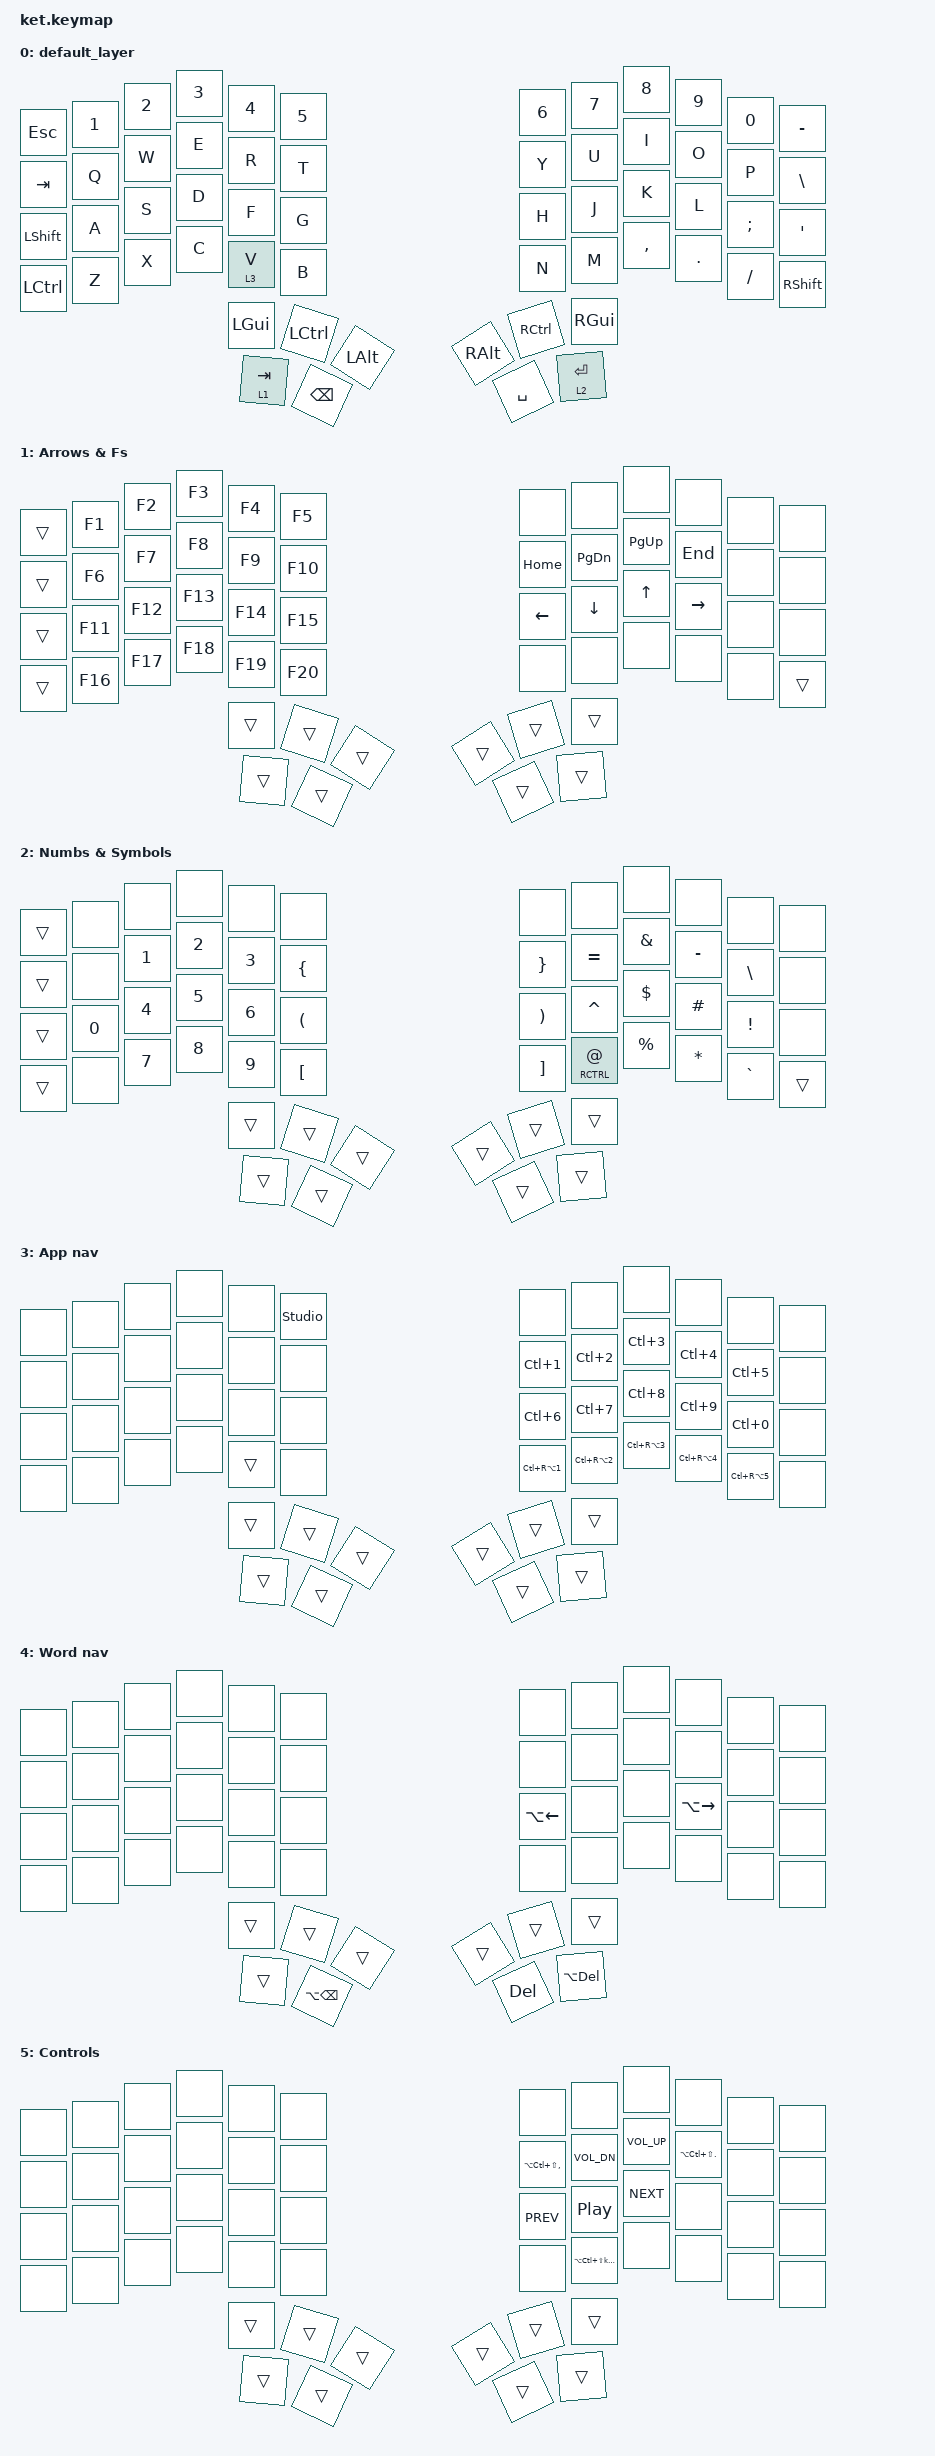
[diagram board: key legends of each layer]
/*
 * Copyright (c) 2020 The ZMK Contributors
 *
 * SPDX-License-Identifier: MIT
 */

#include <behaviors.dtsi>
#include <dt-bindings/zmk/keys.h>
#include <dt-bindings/zmk/bt.h>

&lt {
    tapping-term-ms = <175>;
};

/ {
    keymap {
        compatible = "zmk,keymap";

        default_layer {
// -----------------------------------------------------------------------------------------
// |  ESC |  1  |  2  |  3  |  4  |  5  |   |  6  |  7   |  8  |  9  |  0  |  -   |
// |  TAB |  Q  |  W  |  E  |  R  |  T  |   |  Y  |  U   |  I  |  O  |  P  |  \   |
// | SHFT |  A  |  S  |  D  |  F  |  G  |   |  H  |  J   |  K  |  L  |  ;  |  '   |
// | CTRL |  Z  |  X  |  C  | MO3 |  B  |   |  N  |  M   |  ,  |  .  |  /  | SHFT |
//                    | GUI | MO1 | SPC |   | ENT | MO2  | ALT |
//                          | LWR | BSPC |   | BSPC | RSE  |      
            bindings = <
   &kp ESC   &kp N1 &kp N2 &kp N3 &kp N4 &kp N5                              &kp N6 &kp N7 &kp N8 &kp N9 &kp N0  &kp MINUS 
   &kp TAB   &kp Q &kp W &kp E &kp R   &kp T                                 &kp Y &kp U  &kp I     &kp O   &kp P    &kp BSLH
   &kp LSHFT &kp A &kp S &kp D &kp F   &kp G                                 &kp H &kp J  &kp K     &kp L   &kp SEMI &kp SQT
   &kp LCTRL &kp Z &kp X &kp C &lt 3 V &kp B                                 &kp N &kp M  &kp COMMA &kp DOT &kp FSLH &kp RSHFT
                             &kp LGUI &kp LCTRL &kp LALT        &kp RALT &kp RCTRL  &kp RGUI
                                  &lt 1 TAB &kp BSPC             &kp SPACE &lt 2 RET
                        >;
       };

       lower {
            display-name = "Arrows & Fs";
// -----------------------------------------------------------------------------------------
// |      | F1  | F2  | F3  | F4  | F5  |   |     |      |     |     |     |      |
// |      | F6  | F7  | F8  | F9  | F10 |   |HOME |PG_DN |PG_UP| END |     |      |
// |      | F11 | F12 | F13 | F14 | F15 |   |  <  |  V   |  ^  |  >  |     |      |
// |      | F16 | F17 | F18 | F19 | F20 |   |     |      |     |     |     |      |
//                    | GUI | MO1 | SPC |   | ENT | MO2  | ALT |
//                          | LWR | SPC |   | BSPC | RSE  |      
            bindings = <
   &trans &kp F1   &kp F2  &kp F3    &kp F4    &kp F5                                   &none    &none     &none     &none     &none  &none
   &trans &kp F6   &kp F7  &kp F8    &kp F9    &kp F10                                  &kp HOME &kp PG_DN &kp PG_UP &kp END   &none  &none
   &trans &kp F11  &kp F12  &kp F13  &kp F14   &kp F15                                  &kp LEFT &kp DOWN  &kp UP    &kp RIGHT &none  &none
   &trans &kp F16  &kp F17  &kp F18  &kp F19   &kp F20                                  &none    &none     &none     &none     &none  &trans
                                                    &trans &trans &trans      &trans &trans &trans
                                                            &trans &trans   &trans &trans
            >;
        };

        upper {
           display-name = "Numbs & Symbols";
// -----------------------------------------------------------------------------------------
// |      |     |     |     |     |     |   |     |     |     |     |     |      |
// |      |     |  1  |  2  |  3  |  {  |   |  }  |  =  |  &  |  -  |  \  |      |
// |      |  0  |  4  |  5  |  6  |  (  |   |  )  |  ^  |  $  |  #  |  !  |      |
// |      |     |     |  9  |     |  [  |   |  ]  |  @  |  %  |  *  |  `  |      |
//                    | GUI | MO1 | SPC |   | ENT | MO2  | ALT |
//                          | LWR | SPC |   | BSPC | RSE  |      
           bindings = <
   &trans &none  &none   &none   &none  &none                                       &none    &none     &none     &none     &none     &none 
   &trans &none  &kp N1  &kp N2  &kp N3  &kp LBRC                                   &kp RBRC &kp EQUAL &kp AMPS  &kp MINUS &kp BSLH  &none 
   &trans &kp N0  &kp N4  &kp N5  &kp N6  &kp LPAR                                  &kp RPAR &kp CARET &kp DLLR  &kp HASH  &kp EXCL  &none 
   &trans &none  &kp N7  &kp N8  &kp N9  &kp LBKT                                   &kp RBKT &lt RCTRL AT &kp PRCNT &kp STAR  &kp GRAVE &trans 
                                         &trans &trans &trans         &trans &trans &trans
                                                 &trans &trans      &trans &trans
            >;
        };
        navigation {
           display-name = "App nav";
// -----------------------------------------------------------------------------------------
// |      |     |     |     |     |     |   |     |     |     |     |     |      |
// |      |     |     |     |     |     |   |     |     |     |     |     |      |
// |      |     |     |     |     |     |   |     | moz | idea| term|slack|      |
// |      |     |     |     |     |     |   |     |     |     |     |     |      |
//                    | GUI | MO1 | SPC |   | ENT | MO2  | ALT |
//                          | LWR | SPC |   | BSPC | RSE  |      
           bindings = <
   &none &none &none &none &none &studio_unlock                               &none &none &none &none &none &none 
   &none &none &none &none &none &none                                        &kp LC(N1) &kp LC(N2) &kp LC(N3) &kp LC(N4) &kp LC(N5) &none 
   &none &none &none &none &none &none                                        &kp LC(N6) &kp LC(N7) &kp LC(N8) &kp LC(N9) &kp LC(N0) &none 
   &none &none &none &none &trans &none                                       &kp LC(RA(N1)) &kp LC(RA(N2)) &kp LC(RA(N3)) &kp LC(RA(N4)) &kp LC(RA(N5)) &none 
                                  &trans &trans &trans         &trans &trans &trans
                                          &trans &trans      &trans &trans
            >;
        };
        word_navigation {
           display-name = "Word nav";
// -----------------------------------------------------------------------------------------
// |      |     |     |     |     |     |   |     |     |     |     |     |      |
// |      |     |     |     |     |     |   |     |     |     |     |     |      |
// |      |     |     |     |     |     |   |     |     |     |     |     |      |
// |      |     |     |     |     |     |   |     |     |     |     |     |      |
//                    | GUI | MO1 | SPC |   | ENT | MO2  | ALT |
//                          | LWR | SPC |   | BSPC | RSE  |      
           bindings = <
   &none &none &none &none &none &none                               &none &none &none &none &none &none 
   &none &none &none &none &none &none                               &none &none &none &none &none &none 
   &none &none &none &none &none &none                               &kp LA(LEFT) &none &none &kp LA(RIGHT) &none &none 
   &none &none &none &none &none &none                               &none &none &none &none &none &none 
                           &trans &trans &trans         &trans &trans &trans
                                &trans &kp LA(BSPC)      &kp DEL &kp LA(DEL)
            >;
        };

        controls {
           display-name = "Controls";
// -----------------------------------------------------------------------------------------
// |      |     |     |     |     |     |   |     |     |     |     |     |      |
// |      |     |     |     |     |     |   |     |     |     |     |     |      |
// |      |     |     |     |     |     |   |     | moz | idea| term|slack|      |
// |      |     |     |     |     |     |   |     |     |     |     |     |      |
//                    | GUI | MO1 | SPC |   | ENT | MO2  | ALT |
//                          | LWR | SPC |   | BSPC | RSE  |      
           bindings = <
   &none &none &none &none &none &none                               &none &none &none &none &none &none 
   &none &none &none &none &none &none                               &kp LA(LC(LS(COMMA))) &kp C_VOL_DN &kp C_VOL_UP &kp LA(LC(LS(PERIOD))) &none &none 
   &none &none &none &none &none &none                               &kp C_PREV &kp C_PP &kp C_NEXT &none &none &none 
   &none &none &none &none &none &none                               &none &kp LA(LC(LS(KP_PLUS))) &none &none &none &none 
                           &trans &trans &trans         &trans &trans &trans
                                &trans &trans      &trans &trans
            >;
        };
        extra1 {
            status = "reserved";
        };

        extra2 {
            status = "reserved";
        };

        extra3 {
            status = "reserved";
        };

        extra4 {
            status = "reserved";
        };

        extra5 {
            status = "reserved";
        };
    };
};
